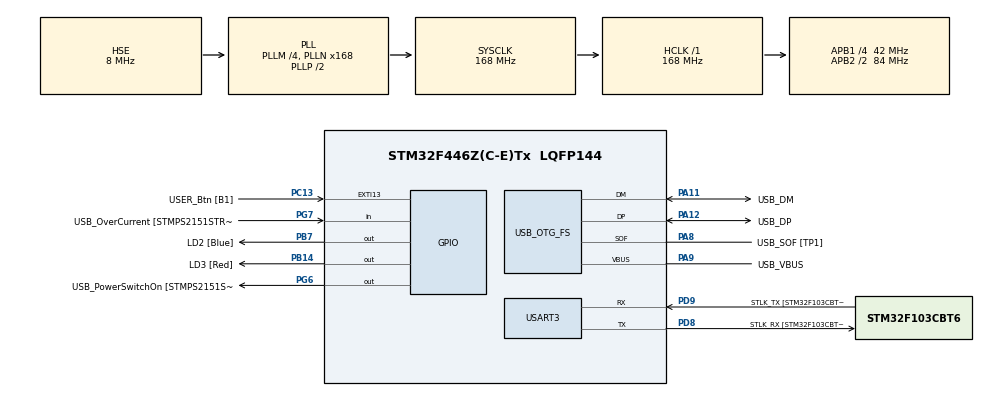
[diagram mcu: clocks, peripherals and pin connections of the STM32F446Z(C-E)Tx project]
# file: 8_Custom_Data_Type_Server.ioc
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FREERTOS.Tasks01=defaultTask,0,128,StartDefaultTask,Default,NULL
Mcu.Family=STM32F4
Mcu.Name=STM32F446Z(C-E)Tx
Mcu.Package=LQFP144
NVIC.PriorityGroup=NVIC_PRIORITYGROUP_4
NVIC.TIM1_UP_TIM10_IRQn=true\:0\:0\:false\:false\:true\:false\:false\:true
NVIC.TimeBase=TIM1_UP_TIM10_IRQn
NVIC.TimeBaseIP=TIM1
PA10.GPIO_Label=USB_ID
PA10.Signal=USB_OTG_FS_ID
PA11.GPIO_Label=USB_DM
PA11.Mode=Device_Only
PA11.Signal=USB_OTG_FS_DM
PA12.GPIO_Label=USB_DP
PA12.Mode=Device_Only
PA12.Signal=USB_OTG_FS_DP
PA13.GPIO_Label=TMS
PA13.Mode=Serial_Wire
PA13.Signal=SYS_JTMS-SWDIO
PA14.GPIO_Label=TCK
PA14.Mode=Serial_Wire
PA14.Signal=SYS_JTCK-SWCLK
PA8.GPIO_Label=USB_SOF [TP1]
PA8.Mode=Activate_SOF_FS
PA8.Signal=USB_OTG_FS_SOF
PA9.GPIO_Label=USB_VBUS
PA9.Mode=Activate_VBUS
PA9.Signal=USB_OTG_FS_VBUS
PB14.GPIO_Label=LD3 [Red]
PB14.Signal=GPIO_Output
PB7.GPIO_Label=LD2 [Blue]
PB7.Signal=GPIO_Output
PC13.GPIO_Label=USER_Btn [B1]
PC13.Signal=GPXTI13
PC14-OSC32_IN.Mode=LSE-External-Oscillator
PC14-OSC32_IN.Signal=RCC_OSC32_IN
PC15-OSC32_OUT.Mode=LSE-External-Oscillator
PC15-OSC32_OUT.Signal=RCC_OSC32_OUT
PD8.GPIO_Label=STLK_RX [STM32F103CBT6_PA3]
PD8.Mode=Asynchronous
PD8.Signal=USART3_TX
PD9.GPIO_Label=STLK_TX [STM32F103CBT6_PA2]
PD9.Mode=Asynchronous
PD9.Signal=USART3_RX
PG6.GPIO_Label=USB_PowerSwitchOn [STMPS2151STR_EN]
PG6.Signal=GPIO_Output
PG7.GPIO_Label=USB_OverCurrent [STMPS2151STR_FAULT]
PG7.Signal=GPIO_Input
PH0-OSC_IN.GPIO_Label=MCO [STM32F103CBT6_PA8]
PH0-OSC_IN.Mode=HSE-External-Clock-Source
PH0-OSC_IN.Signal=RCC_OSC_IN
PH1-OSC_OUT.Mode=HSE-External-Clock-Source
PH1-OSC_OUT.Signal=RCC_OSC_OUT
ProjectManager.HeapSize=0x200
ProjectManager.StackSize=0x400
ProjectManager.TargetToolchain=STM32CubeIDE
RCC.48MHZClocksFreq_Value=24000000
RCC.AHBFreq_Value=168000000
RCC.APB1CLKDivider=RCC_HCLK_DIV4
RCC.APB1Freq_Value=42000000
RCC.APB1TimFreq_Value=84000000
RCC.APB2CLKDivider=RCC_HCLK_DIV2
RCC.APB2Freq_Value=84000000
RCC.APB2TimFreq_Value=168000000
RCC.CortexFreq_Value=168000000
RCC.HCLKFreq_Value=168000000
RCC.HSE_VALUE=8000000
RCC.HSI_VALUE=16000000
RCC.PLLM=4
RCC.PLLMUL=RCC_PLL_MUL9
RCC.PLLN=168
RCC.PLLQ=7
RCC.PRESCALERUSB=RCC_USBCLKSOURCE_PLL_DIV1_5
RCC.SYSCLKFreq_VALUE=168000000
RCC.SYSCLKSource=RCC_SYSCLKSOURCE_PLLCLK
RCC.SYSCLKSourceVirtual=RCC_SYSCLKSOURCE_PLLCLK
RCC.USBFreq_Value=48000000
RCC.VCOOutputFreq_Value=336000000
USART3.VirtualMode=VM_ASYNC
USB_OTG_FS.VirtualMode=Device_Only
VP_FREERTOS_VS_CMSIS_V1.Mode=CMSIS_V1
VP_SYS_VS_tim1.Mode=TIM1
board=NUCLEO-F446ZE

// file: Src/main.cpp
/* USER CODE BEGIN Header */
/**
  ******************************************************************************
  * @file           : main.c
  * @brief          : Main program body
  ******************************************************************************
  * @attention
  *
  * <h2><center>&copy; Copyright (c) 2019 STMicroelectronics.
  * All rights reserved.</center></h2>
  *
  * This software component is licensed by ST under BSD 3-Clause license,
  * the "License"; You may not use this file except in compliance with the
  * License. You may obtain a copy of the License at:
  *                        opensource.org/licenses/BSD-3-Clause
  *
  ******************************************************************************
  */
/* USER CODE END Header */

#include "main.h"
#include "cmsis_os.h"

/* USER CODE BEGIN Includes */
#include <uavcan_stm32/uavcan_stm32.hpp>
#include <uavcan/uavcan.hpp>

#include <custom_data_types/PerformLinearLeastSquaresFit.hpp>

/* USER CODE END Includes */

/* USER CODE BEGIN PD */
#define CAN_THRAD_STACK_SIZE 512

#define DEBUG_BUFFER_SIZE    (256)
#define DEBUG_TIMEOUT        (1000)
/* USER CODE END PD */

UART_HandleTypeDef huart3;

PCD_HandleTypeDef hpcd_USB_OTG_FS;

osThreadId defaultTaskHandle;
/* USER CODE BEGIN PV */
uint32_t defaultTaskBuffer[ CAN_THRAD_STACK_SIZE ];
osStaticThreadDef_t defaultTaskControlBlock;

osSemaphoreId DEBUG_TX_completeID;
osSemaphoreDef(DEBUG_TX_complete);
uint8_t DEBUG_TX_Buffer[DEBUG_BUFFER_SIZE] = {0};  //!< Debug buffer.
/* USER CODE END PV */

void SystemClock_Config(void);
static void MX_GPIO_Init(void);
static void MX_USART3_UART_Init(void);
static void MX_USB_OTG_FS_PCD_Init(void);

/* USER CODE BEGIN PFP */
extern "C" {
	void StartDefaultTask(void const * argument);
}

bool DEBUG_Init(void);
void DEBUG_Printf(const char *fmt, ...);
/* USER CODE END PFP */

/* USER CODE BEGIN 0 */
constexpr unsigned NodePoolSize = 8192;
uavcan_stm32::CanInitHelper<> can;

uavcan::Node<NodePoolSize>& getNode() {
    static uavcan::Node<NodePoolSize> node(can.driver, uavcan_stm32::SystemClock::instance());
    return node;
}
/* USER CODE END 0 */

int main(void)
{

  /* MCU Configuration--------------------------------------------------------*/

  /* Reset of all peripherals, Initializes the Flash interface and the Systick. */
  HAL_Init();

  /* Configure the system clock */
  SystemClock_Config();

  /* Initialize all configured peripherals */
  MX_GPIO_Init();
  MX_USART3_UART_Init();
  MX_USB_OTG_FS_PCD_Init();
  /* USER CODE BEGIN 2 */
  GPIO_InitTypeDef GPIO_InitStruct = {0};

  __HAL_RCC_CAN1_CLK_ENABLE();

  __HAL_RCC_GPIOD_CLK_ENABLE();
  /**CAN1 GPIO Configuration
  PD0     ------> CAN1_RX
  PD1     ------> CAN1_TX
  */
  GPIO_InitStruct.Pin = GPIO_PIN_0|GPIO_PIN_1;
  GPIO_InitStruct.Mode = GPIO_MODE_AF_PP;
  GPIO_InitStruct.Pull = GPIO_NOPULL;
  GPIO_InitStruct.Speed = GPIO_SPEED_FREQ_VERY_HIGH;
  GPIO_InitStruct.Alternate = GPIO_AF9_CAN1;
  HAL_GPIO_Init(GPIOD, &GPIO_InitStruct);

  DEBUG_Init();
  /* USER CODE END 2 */

  /* Create the thread(s) */
  /* definition and creation of defaultTask */
  osThreadStaticDef(defaultTask, StartDefaultTask, osPriorityNormal, 0, CAN_THRAD_STACK_SIZE, defaultTaskBuffer, &defaultTaskControlBlock);
  defaultTaskHandle = osThreadCreate(osThread(defaultTask), NULL);

  /* Start scheduler */
  osKernelStart();

  /* We should never get here as control is now taken by the scheduler */

  /* Infinite loop */
  while (1)
  {

  }
}

void SystemClock_Config(void)
{
  RCC_OscInitTypeDef RCC_OscInitStruct = {0};
  RCC_ClkInitTypeDef RCC_ClkInitStruct = {0};
  RCC_PeriphCLKInitTypeDef PeriphClkInitStruct = {0};

  /** Configure the main internal regulator output voltage
  */
  __HAL_RCC_PWR_CLK_ENABLE();
  __HAL_PWR_VOLTAGESCALING_CONFIG(PWR_REGULATOR_VOLTAGE_SCALE1);
  /** Initializes the CPU, AHB and APB busses clocks
  */
  RCC_OscInitStruct.OscillatorType = RCC_OSCILLATORTYPE_HSE;
  RCC_OscInitStruct.HSEState = RCC_HSE_BYPASS;
  RCC_OscInitStruct.PLL.PLLState = RCC_PLL_ON;
  RCC_OscInitStruct.PLL.PLLSource = RCC_PLLSOURCE_HSE;
  RCC_OscInitStruct.PLL.PLLM = 4;
  RCC_OscInitStruct.PLL.PLLN = 168;
  RCC_OscInitStruct.PLL.PLLP = RCC_PLLP_DIV2;
  RCC_OscInitStruct.PLL.PLLQ = 7;
  RCC_OscInitStruct.PLL.PLLR = 2;
  if (HAL_RCC_OscConfig(&RCC_OscInitStruct) != HAL_OK)
  {
    Error_Handler();
  }
  /** Initializes the CPU, AHB and APB busses clocks
  */
  RCC_ClkInitStruct.ClockType = RCC_CLOCKTYPE_HCLK|RCC_CLOCKTYPE_SYSCLK
                              |RCC_CLOCKTYPE_PCLK1|RCC_CLOCKTYPE_PCLK2;
  RCC_ClkInitStruct.SYSCLKSource = RCC_SYSCLKSOURCE_PLLCLK;
  RCC_ClkInitStruct.AHBCLKDivider = RCC_SYSCLK_DIV1;
  RCC_ClkInitStruct.APB1CLKDivider = RCC_HCLK_DIV4;
  RCC_ClkInitStruct.APB2CLKDivider = RCC_HCLK_DIV2;

  if (HAL_RCC_ClockConfig(&RCC_ClkInitStruct, FLASH_LATENCY_5) != HAL_OK)
  {
    Error_Handler();
  }
  PeriphClkInitStruct.PeriphClockSelection = RCC_PERIPHCLK_CLK48;
  PeriphClkInitStruct.Clk48ClockSelection = RCC_CLK48CLKSOURCE_PLLQ;
  if (HAL_RCCEx_PeriphCLKConfig(&PeriphClkInitStruct) != HAL_OK)
  {
    Error_Handler();
  }
}

static void MX_USART3_UART_Init(void)
{

  huart3.Instance = USART3;
  huart3.Init.BaudRate = 115200;
  huart3.Init.WordLength = UART_WORDLENGTH_8B;
  huart3.Init.StopBits = UART_STOPBITS_1;
  huart3.Init.Parity = UART_PARITY_NONE;
  huart3.Init.Mode = UART_MODE_TX_RX;
  huart3.Init.HwFlowCtl = UART_HWCONTROL_NONE;
  huart3.Init.OverSampling = UART_OVERSAMPLING_16;
  if (HAL_UART_Init(&huart3) != HAL_OK)
  {
    Error_Handler();
  }

}

static void MX_USB_OTG_FS_PCD_Init(void)
{

  hpcd_USB_OTG_FS.Instance = USB_OTG_FS;
  hpcd_USB_OTG_FS.Init.dev_endpoints = 6;
  hpcd_USB_OTG_FS.Init.speed = PCD_SPEED_FULL;
  hpcd_USB_OTG_FS.Init.dma_enable = DISABLE;
  hpcd_USB_OTG_FS.Init.phy_itface = PCD_PHY_EMBEDDED;
  hpcd_USB_OTG_FS.Init.Sof_enable = ENABLE;
  hpcd_USB_OTG_FS.Init.low_power_enable = DISABLE;
  hpcd_USB_OTG_FS.Init.lpm_enable = DISABLE;
  hpcd_USB_OTG_FS.Init.vbus_sensing_enable = ENABLE;
  hpcd_USB_OTG_FS.Init.use_dedicated_ep1 = DISABLE;
  if (HAL_PCD_Init(&hpcd_USB_OTG_FS) != HAL_OK)
  {
    Error_Handler();
  }

}

static void MX_GPIO_Init(void)
{
  GPIO_InitTypeDef GPIO_InitStruct = {0};

  /* GPIO Ports Clock Enable */
  __HAL_RCC_GPIOC_CLK_ENABLE();
  __HAL_RCC_GPIOH_CLK_ENABLE();
  __HAL_RCC_GPIOB_CLK_ENABLE();
  __HAL_RCC_GPIOD_CLK_ENABLE();
  __HAL_RCC_GPIOG_CLK_ENABLE();
  __HAL_RCC_GPIOA_CLK_ENABLE();

  /*Configure GPIO pin Output Level */
  HAL_GPIO_WritePin(GPIOB, LD3_Pin|LD2_Pin, GPIO_PIN_RESET);

  /*Configure GPIO pin Output Level */
  HAL_GPIO_WritePin(USB_PowerSwitchOn_GPIO_Port, USB_PowerSwitchOn_Pin, GPIO_PIN_RESET);

  /*Configure GPIO pin : USER_Btn_Pin */
  GPIO_InitStruct.Pin = USER_Btn_Pin;
  GPIO_InitStruct.Mode = GPIO_MODE_IT_RISING;
  GPIO_InitStruct.Pull = GPIO_NOPULL;
  HAL_GPIO_Init(USER_Btn_GPIO_Port, &GPIO_InitStruct);

  /*Configure GPIO pins : LD3_Pin LD2_Pin */
  GPIO_InitStruct.Pin = LD3_Pin|LD2_Pin;
  GPIO_InitStruct.Mode = GPIO_MODE_OUTPUT_PP;
  GPIO_InitStruct.Pull = GPIO_NOPULL;
  GPIO_InitStruct.Speed = GPIO_SPEED_FREQ_LOW;
  HAL_GPIO_Init(GPIOB, &GPIO_InitStruct);

  /*Configure GPIO pin : USB_PowerSwitchOn_Pin */
  GPIO_InitStruct.Pin = USB_PowerSwitchOn_Pin;
  GPIO_InitStruct.Mode = GPIO_MODE_OUTPUT_PP;
  GPIO_InitStruct.Pull = GPIO_NOPULL;
  GPIO_InitStruct.Speed = GPIO_SPEED_FREQ_LOW;
  HAL_GPIO_Init(USB_PowerSwitchOn_GPIO_Port, &GPIO_InitStruct);

  /*Configure GPIO pin : USB_OverCurrent_Pin */
  GPIO_InitStruct.Pin = USB_OverCurrent_Pin;
  GPIO_InitStruct.Mode = GPIO_MODE_INPUT;
  GPIO_InitStruct.Pull = GPIO_NOPULL;
  HAL_GPIO_Init(USB_OverCurrent_GPIO_Port, &GPIO_InitStruct);

}

/* USER CODE BEGIN 4 */
bool DEBUG_Init(void)
{
    if ((DEBUG_TX_completeID = osSemaphoreCreate(osSemaphore(DEBUG_TX_complete), 1)) == NULL)
    {
        return false;
    }
    return true;
}

void DEBUG_Printf(const char *fmt, ...)
{
    uint16_t i = 0;
    va_list args;
    if (osSemaphoreWait(DEBUG_TX_completeID, 1000) == osOK)
    {
        va_start(args, fmt);
        i = vsnprintf((char*) DEBUG_TX_Buffer, DEBUG_BUFFER_SIZE - 1, fmt, args);
        DEBUG_TX_Buffer[i] = 0x00;

        uint16_t retry = 4096;

        while ((retry--)&&(HAL_UART_Transmit(&huart3, &DEBUG_TX_Buffer[0], strlen((char*)&DEBUG_TX_Buffer[0]), 0xFFF) != HAL_OK));

        va_end(args);
        osSemaphoreRelease(DEBUG_TX_completeID);
    }
    return;
}
/* USER CODE END 4 */

void StartDefaultTask(void const * argument)
{

  /* USER CODE BEGIN 5 */

	uint32_t value = 1000000;

	can.init(value);

	getNode().setName("org.test.CustomDataType");
	getNode().setNodeID(5);

	using custom_data_types::PerformLinearLeastSquaresFit;
    uavcan::ServiceServer<PerformLinearLeastSquaresFit> srv_least_squares(getNode());

    auto regist_result =
        uavcan::GlobalDataTypeRegistry::instance().registerDataType<PerformLinearLeastSquaresFit>(243); // DTID = 243
    if (regist_result != uavcan::GlobalDataTypeRegistry::RegistrationResultOk)
    {
    	DEBUG_Printf("Failed to register the data type 1");
    }

    const int res = srv_least_squares.start(
    	[](const PerformLinearLeastSquaresFit::Request& request, PerformLinearLeastSquaresFit::Response& response)
		{
    		double sum_x = 0, sum_y = 0, sum_xy = 0, sum_xx = 0;
    		for (auto point : request.points)
    	    {
    			sum_x += point.x;
    	        sum_y += point.y;
    	        sum_xy += point.x * point.y;
    	        sum_xx += point.x * point.x;
    	    }
            const double a = sum_x * sum_y - request.points.size() * sum_xy;
            const double b = sum_x * sum_x - request.points.size() * sum_xx;
            if (abs(b) > 1e-12)
            {
                response.slope = a / b;
                response.y_intercept = (sum_y - response.slope * sum_x) / request.points.size();
            }

    		response.MyNumber = 256.0;

        });
    if (res < 0)
    {
    	DEBUG_Printf("Failed to start the PerformLinearLeastSquaresFit server\r\n");
    }

	if (getNode().start() < 0) {
		DEBUG_Printf("UAVCAN start fail\r\n");
	    while (1);
	}

	getNode().setModeOperational();

  /* Infinite loop */
  for(;;)
  {
	    const int res = getNode().spin(uavcan::MonotonicDuration::fromMSec(500));
	    if (res < 0) {
	    	DEBUG_Printf("UAVCAN spin fail\r\n");
	    	while(1);
	    }
  }
  /* USER CODE END 5 */
}

void HAL_TIM_PeriodElapsedCallback(TIM_HandleTypeDef *htim)
{
  if (htim->Instance == TIM1) {
    HAL_IncTick();
  }
}

void Error_Handler(void)
{
}

/************************ (C) COPYRIGHT STMicroelectronics *****END OF FILE****/
